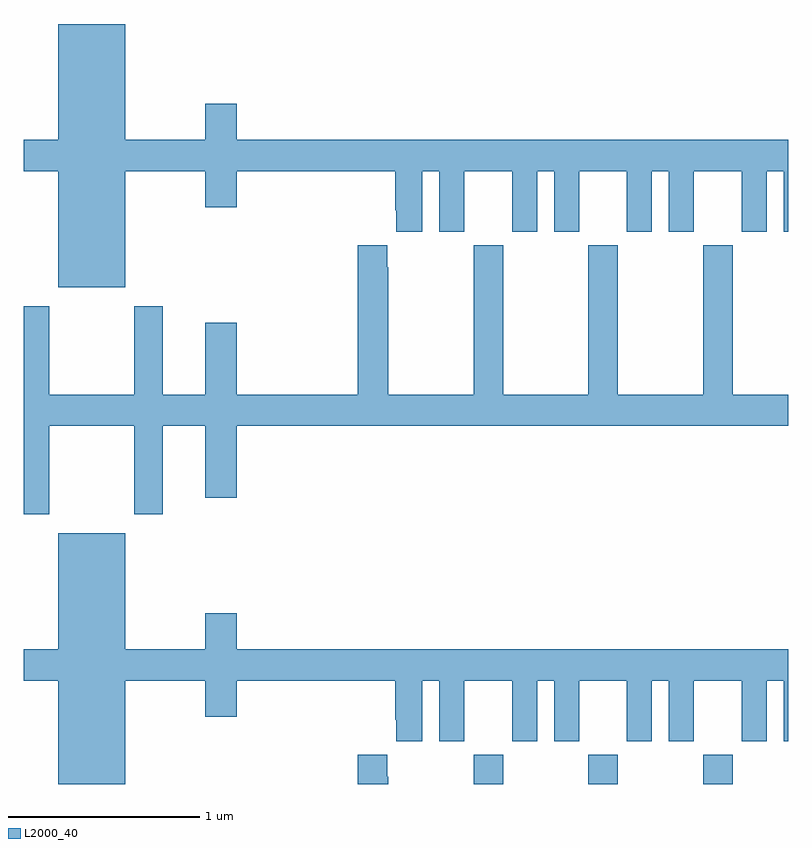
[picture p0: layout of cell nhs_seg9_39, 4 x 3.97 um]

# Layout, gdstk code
import gdstk
lib = gdstk.Library(unit=1e-6, precision=1e-09)
def R(c, l, rs):  # rectangles x0, y0, x1, y1
    for r in rs: c.add(gdstk.rectangle(r[:2], r[2:], *l))
def A(c, l, x, y, w, h, nx, ny, dx, dy):  # array of equal rectangles
    R(c, l, [(x+i*dx, y+j*dy, x+i*dx+w, y+j*dy+h) for i in range(nx) for j in range(ny)])
def P(c, l, *ps):  # polygons
    for p in ps: c.add(gdstk.Polygon(p, *l))
L2000_40 = (2000, 40)

nhs_seg9_39 = lib.new_cell('nhs_seg9_39')
A(nhs_seg9_39, L2000_40, 113.353, 1242.5, 0.155, 0.152, 3, 1, 0.6, 0)
P(nhs_seg9_39, L2000_40, [(111.532,1245.704),(111.95,1245.704),(111.95,1245.516),(112.114,1245.516),(112.114,1245.704),(112.943,1245.704),(112.943,1245.499),(112.949,1245.499),(112.949,1245.387),(113.086,1245.387),(113.086,1245.704),(113.174,1245.704),(113.174,1245.387),(113.305,1245.387),(113.305,1245.704),(113.555,1245.704),(113.555,1245.387),(113.686,1245.387),(113.686,1245.704),(113.774,1245.704),(113.774,1245.387),(113.905,1245.387),(113.905,1245.704),(114.155,1245.704),(114.155,1245.387),(114.286,1245.387),(114.286,1245.704),(114.374,1245.704),(114.374,1245.387),(114.505,1245.387),(114.505,1245.704),(114.755,1245.704),(114.755,1245.387),(114.886,1245.387),(114.886,1245.704),(114.974,1245.704),(114.974,1245.387),(115,1245.387),(115,1245.868),(112.114,1245.868),(112.114,1246.057),(111.95,1246.057),(111.95,1245.868),(111.532,1245.868),(111.532,1246.474),(111.182,1246.474),(111.182,1245.868),(111,1245.868),(111,1245.704),(111.182,1245.704),(111.182,1245.098),(111.532,1245.098)],
  [(111.135,1244.372),(111.58,1244.372),(111.58,1243.911),(111.727,1243.911),(111.727,1244.372),(111.95,1244.372),(111.95,1243.998),(112.114,1243.998),(112.114,1244.372),(115,1244.372),(115,1244.536),(114.708,1244.536),(114.708,1245.316),(114.553,1245.316),(114.553,1244.536),(114.108,1244.536),(114.108,1245.316),(113.953,1245.316),(113.953,1244.536),(113.508,1244.536),(113.508,1245.316),(113.353,1245.316),(113.353,1244.536),(112.908,1244.536),(112.908,1245.203),(112.903,1245.203),(112.903,1245.316),(112.748,1245.316),(112.748,1244.536),(112.114,1244.536),(112.114,1244.911),(111.95,1244.911),(111.95,1244.536),(111.727,1244.536),(111.727,1244.998),(111.58,1244.998),(111.58,1244.536),(111.135,1244.536),(111.135,1244.998),(111,1244.998),(111,1243.911),(111.135,1243.911)],
  [(111.532,1243.04),(111.95,1243.04),(111.95,1242.852),(112.114,1242.852),(112.114,1243.04),(112.943,1243.04),(112.943,1242.835),(112.949,1242.835),(112.949,1242.723),(113.086,1242.723),(113.086,1243.04),(113.174,1243.04),(113.174,1242.723),(113.305,1242.723),(113.305,1243.04),(113.555,1243.04),(113.555,1242.723),(113.686,1242.723),(113.686,1243.04),(113.774,1243.04),(113.774,1242.723),(113.905,1242.723),(113.905,1243.04),(114.155,1243.04),(114.155,1242.723),(114.286,1242.723),(114.286,1243.04),(114.374,1243.04),(114.374,1242.723),(114.505,1242.723),(114.505,1243.04),(114.755,1243.04),(114.755,1242.723),(114.886,1242.723),(114.886,1243.04),(114.974,1243.04),(114.974,1242.723),(115,1242.723),(115,1243.204),(112.114,1243.204),(112.114,1243.393),(111.95,1243.393),(111.95,1243.204),(111.532,1243.204),(111.532,1243.81),(111.182,1243.81),(111.182,1243.204),(111,1243.204),(111,1243.04),(111.182,1243.04),(111.182,1242.5),(111.532,1242.5)],
  [(112.908,1242.539),(112.903,1242.539),(112.903,1242.652),(112.748,1242.652),(112.748,1242.5),(112.908,1242.5)])

lib.write_gds('nhs_seg9_39.gds')
